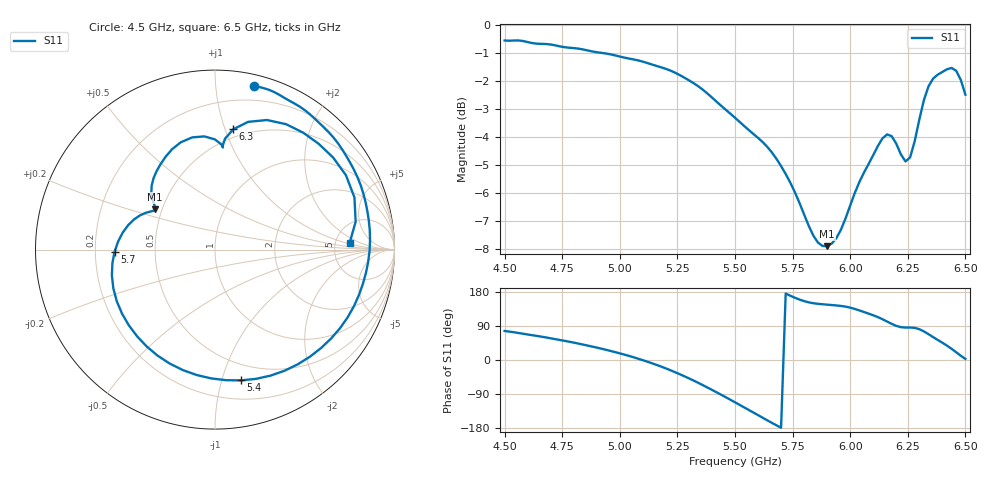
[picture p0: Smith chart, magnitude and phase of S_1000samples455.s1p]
! TOUCHSTONE file generated by CST MICROWAVE STUDIO
! Date and time: Fri Oct 28 05:41:45 2022
! Project name: L.cst
! Parameters = {Di=1.27; Epsilon_r=1.56; InnerDiameter=1.27; Length=2; Lf=10; Lg=60; OuterConductorThickness=0.2921; OuterDiameter=3.6; Wf=3; Wp=41.2; de=1.5; df=6.8; g=0.8; gx=4.00399; gy=1.08091; h=2.34; hf=1.524; px=10.101; py=12.2691; w=9.7; wx=6.09703; wy=11.1881}
! Header version: 2018
! Port assignment regex: !\s*Touchstone port\s*([0-9]+)\s*=\s*(CST MWS port|CST DS port)\s*([0-9]+|Zmin|Zmax)\s*\(\"(.*)\"\)(\s*mode\s*([0-9]+))?.*
! Touchstone port assignment:
! Touchstone port 1 = CST MWS port 1 ("")
# GHz S DB R 50
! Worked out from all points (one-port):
!   101 points, 4.5 GHz to 6.5 GHz, reference 50 ohm
!   lowest |S11| = -7.9 dB at 5.9 GHz (marker M1), VSWR 2.35, Z = 22.9 + j12.3 ohm
!   |S11| at or under -10 dB: nowhere
!   S11 on the Smith chart (normalised r, x): 4.5 GHz: 0.08, +1.26; 5.4 GHz: 0.35, -1.15; 5.7 GHz: 0.28, -0.01; 6.3 GHz: 0.43, +1.07; 6.5 GHz: 6.84, +1.20
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4.5  -0.54 76.6
4.66  -0.66 61.6
4.76  -0.78 50.5
4.9  -0.96 32.8
5  -1.12 17.5
5.14  -1.40 -8.7
5.2  -1.56 -22.2
5.26  -1.78 -37.4
5.34  -2.18 -60.1
5.4  -2.58 -78.8
5.46  -3.02 -98.2
5.5  -3.31 -111.6
5.6  -4.03 -145.5
5.64  -4.35 -159.1
5.7  -5.04 -178.7
5.76  -5.98 164.3
5.84  -7.53 149.8
5.9  -7.90 146.0
6  -6.45 138.2
6.1  -4.64 118.0
6.16  -3.90 101.5
6.22  -4.62 86.6
6.26  -4.73 85.7
6.3  -3.37 81.4
6.34  -2.18 68.1
6.4  -1.67 45.6
6.46  -1.62 20.5
6.5  -2.48 2.9
